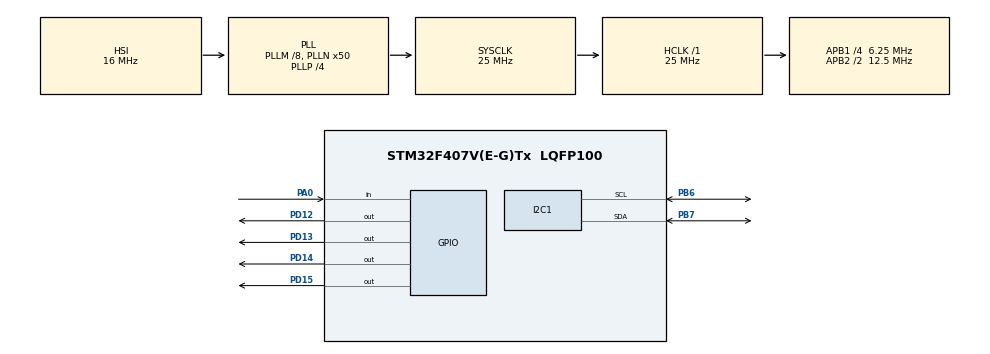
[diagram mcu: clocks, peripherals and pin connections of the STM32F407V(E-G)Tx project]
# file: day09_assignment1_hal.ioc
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Mcu.Family=STM32F4
Mcu.Name=STM32F407V(E-G)Tx
Mcu.Package=LQFP100
NVIC.PriorityGroup=NVIC_PRIORITYGROUP_0
PA0-WKUP.Signal=GPIO_Input
PB6.Mode=I2C
PB6.Signal=I2C1_SCL
PB7.Mode=I2C
PB7.Signal=I2C1_SDA
PD12.Signal=GPIO_Output
PD13.Signal=GPIO_Output
PD14.Signal=GPIO_Output
PD15.Signal=GPIO_Output
ProjectManager.HeapSize=0x200
ProjectManager.StackSize=0x400
ProjectManager.TargetToolchain=STM32CubeIDE
RCC.48MHZClocksFreq_Value=14285714.285714285
RCC.AHBFreq_Value=25000000
RCC.APB1CLKDivider=RCC_HCLK_DIV4
RCC.APB1Freq_Value=6250000
RCC.APB1TimFreq_Value=12500000
RCC.APB2CLKDivider=RCC_HCLK_DIV2
RCC.APB2Freq_Value=12500000
RCC.APB2TimFreq_Value=25000000
RCC.CortexFreq_Value=25000000
RCC.HCLKFreq_Value=25000000
RCC.HSE_VALUE=8000000
RCC.HSI_VALUE=16000000
RCC.LSE_VALUE=32768
RCC.PLLM=8
RCC.PLLN=50
RCC.PLLP=RCC_PLLP_DIV4
RCC.PLLQ=7
RCC.SYSCLKFreq_VALUE=25000000
RCC.SYSCLKSource=RCC_SYSCLKSOURCE_PLLCLK
RCC.VCOOutputFreq_Value=100000000
board=STM32F407G-DISC1

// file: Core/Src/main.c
/* USER CODE BEGIN Header */
/**
  ******************************************************************************
  * @file           : main.c
  * @brief          : Main program body
  ******************************************************************************
  * @attention
  *
  * Copyright (c) 2024 STMicroelectronics.
  * All rights reserved.
  *
  * This software is licensed under terms that can be found in the LICENSE file
  * in the root directory of this software component.
  * If no LICENSE file comes with this software, it is provided AS-IS.
  *
  ******************************************************************************
  */
/* USER CODE END Header */
#include "main.h"

/* USER CODE BEGIN Includes */
#define BV(n)     (1 << (n))

#define LCD_SLAVE_ADDR_W	0x4E
#define LCD_SLAVE_ADDR_R	0x4F
//#define LCD_SLAVE_ADDR_W	0x7E
//#define LCD_SLAVE_ADDR_R	0x7F

#define LCD_CLEAR				0x01
#define LCD_FN_SET_8BIT			0x30
#define LCD_FN_SET_4BIT_1LINE	0x20
#define LCD_FN_SET_4BIT_2LINES	0x28
#define LCD_DISP_CTRL			0x08
#define LCD_DISP_ON				0x0C
#define LCD_ENTRY_MODE			0x06
#define LCD_LINE1				0x80
#define LCD_LINE2				0xC0
#define LCD_DISP_SHIFT_LEFT		0x18
#define LCD_DISP_SHIFT_RIGHT	0x1C

#define LCD_RS	0
#define LCD_RW	1
#define LCD_EN	2
#define LCD_BL	3

#define LCD_CMD		0x80
#define LCD_DATA	1
/* USER CODE END Includes */

I2C_HandleTypeDef hi2c1;

void SystemClock_Config(void);
static void MX_GPIO_Init(void);
static void MX_I2C1_Init(void);
/* USER CODE BEGIN PFP */
void Lcd_Write4BitAndCtrl(uint8_t val);
void Lcd_WriteByte(uint8_t rs, uint8_t val);
void Lcd_Puts(uint8_t line, char str[]);
int Lcd_Init();
/* USER CODE END PFP */

int main(void)
{

  /* MCU Configuration--------------------------------------------------------*/

  /* Reset of all peripherals, Initializes the Flash interface and the Systick. */
  HAL_Init();

  /* Configure the system clock */
  SystemClock_Config();

  /* Initialize all configured peripherals */
  MX_GPIO_Init();
  MX_I2C1_Init();
  /* USER CODE BEGIN 2 */
  Lcd_Init();
  /* USER CODE END 2 */
  Lcd_Puts(LCD_LINE1, "Hello");
  //Lcd_Puts(LCD_LINE2, "I am Prasad!");
  /* Infinite loop */
  while (1)
  {

  }
}

void SystemClock_Config(void)
{
  RCC_OscInitTypeDef RCC_OscInitStruct = {0};
  RCC_ClkInitTypeDef RCC_ClkInitStruct = {0};

  /** Configure the main internal regulator output voltage
  */
  __HAL_RCC_PWR_CLK_ENABLE();
  __HAL_PWR_VOLTAGESCALING_CONFIG(PWR_REGULATOR_VOLTAGE_SCALE1);

  /** Initializes the RCC Oscillators according to the specified parameters
  * in the RCC_OscInitTypeDef structure.
  */
  RCC_OscInitStruct.OscillatorType = RCC_OSCILLATORTYPE_HSI;
  RCC_OscInitStruct.HSIState = RCC_HSI_ON;
  RCC_OscInitStruct.HSICalibrationValue = RCC_HSICALIBRATION_DEFAULT;
  RCC_OscInitStruct.PLL.PLLState = RCC_PLL_ON;
  RCC_OscInitStruct.PLL.PLLSource = RCC_PLLSOURCE_HSI;
  RCC_OscInitStruct.PLL.PLLM = 8;
  RCC_OscInitStruct.PLL.PLLN = 50;
  RCC_OscInitStruct.PLL.PLLP = RCC_PLLP_DIV4;
  RCC_OscInitStruct.PLL.PLLQ = 7;
  if (HAL_RCC_OscConfig(&RCC_OscInitStruct) != HAL_OK)
  {
    Error_Handler();
  }

  /** Initializes the CPU, AHB and APB buses clocks
  */
  RCC_ClkInitStruct.ClockType = RCC_CLOCKTYPE_HCLK|RCC_CLOCKTYPE_SYSCLK
                              |RCC_CLOCKTYPE_PCLK1|RCC_CLOCKTYPE_PCLK2;
  RCC_ClkInitStruct.SYSCLKSource = RCC_SYSCLKSOURCE_PLLCLK;
  RCC_ClkInitStruct.AHBCLKDivider = RCC_SYSCLK_DIV1;
  RCC_ClkInitStruct.APB1CLKDivider = RCC_HCLK_DIV4;
  RCC_ClkInitStruct.APB2CLKDivider = RCC_HCLK_DIV2;

  if (HAL_RCC_ClockConfig(&RCC_ClkInitStruct, FLASH_LATENCY_0) != HAL_OK)
  {
    Error_Handler();
  }
}

static void MX_I2C1_Init(void)
{

  hi2c1.Instance = I2C1;
  hi2c1.Init.ClockSpeed = 100000;
  hi2c1.Init.DutyCycle = I2C_DUTYCYCLE_2;
  hi2c1.Init.OwnAddress1 = 0;
  hi2c1.Init.AddressingMode = I2C_ADDRESSINGMODE_7BIT;
  hi2c1.Init.DualAddressMode = I2C_DUALADDRESS_DISABLE;
  hi2c1.Init.OwnAddress2 = 0;
  hi2c1.Init.GeneralCallMode = I2C_GENERALCALL_DISABLE;
  hi2c1.Init.NoStretchMode = I2C_NOSTRETCH_DISABLE;
  if (HAL_I2C_Init(&hi2c1) != HAL_OK)
  {
    Error_Handler();
  }

}

static void MX_GPIO_Init(void)
{
  GPIO_InitTypeDef GPIO_InitStruct = {0};

  /* GPIO Ports Clock Enable */
  __HAL_RCC_GPIOA_CLK_ENABLE();
  __HAL_RCC_GPIOD_CLK_ENABLE();
  __HAL_RCC_GPIOB_CLK_ENABLE();

  /*Configure GPIO pin Output Level */
  HAL_GPIO_WritePin(GPIOD, GPIO_PIN_12|GPIO_PIN_13|GPIO_PIN_14|GPIO_PIN_15, GPIO_PIN_RESET);

  /*Configure GPIO pin : PA0 */
  GPIO_InitStruct.Pin = GPIO_PIN_0;
  GPIO_InitStruct.Mode = GPIO_MODE_INPUT;
  GPIO_InitStruct.Pull = GPIO_NOPULL;
  HAL_GPIO_Init(GPIOA, &GPIO_InitStruct);

  /*Configure GPIO pins : PD12 PD13 PD14 PD15 */
  GPIO_InitStruct.Pin = GPIO_PIN_12|GPIO_PIN_13|GPIO_PIN_14|GPIO_PIN_15;
  GPIO_InitStruct.Mode = GPIO_MODE_OUTPUT_PP;
  GPIO_InitStruct.Pull = GPIO_NOPULL;
  GPIO_InitStruct.Speed = GPIO_SPEED_FREQ_LOW;
  HAL_GPIO_Init(GPIOD, &GPIO_InitStruct);

}

/* USER CODE BEGIN 4 */
void Lcd_Write4BitAndCtrl(uint8_t val) {
	//I2C_Start();
	//I2C_SendSlaveAddr(LCD_SLAVE_ADDR_W);
	//I2C_SendData(val);
	//I2C_Stop();
	HAL_I2C_Master_Transmit(&hi2c1, LCD_SLAVE_ADDR_W, &val, sizeof(val), 50);
}
void Lcd_WriteByte(uint8_t rs, uint8_t val) {
	uint8_t high = val & 0xF0, low = (val << 4) & 0xF0;
	uint8_t bvrs = (rs == LCD_CMD) ? 0 : BV(LCD_RS);
	Lcd_Write4BitAndCtrl(high | bvrs | BV(LCD_EN) | BV(LCD_BL));
	HAL_Delay(1);//DelayMs(1);
	Lcd_Write4BitAndCtrl(high | bvrs | BV(LCD_BL));
	Lcd_Write4BitAndCtrl(low | bvrs | BV(LCD_EN) | BV(LCD_BL));
	HAL_Delay(1);//DelayMs(1);
	Lcd_Write4BitAndCtrl(low | bvrs | BV(LCD_BL));
}
int Lcd_Init()
{
	// wait for 15ms
	HAL_Delay(20);//DelayMs(20);
	// check if lcd is ready
	if(HAL_I2C_IsDeviceReady(&hi2c1, LCD_SLAVE_ADDR_W, 5, 50) != HAL_OK)
		return 1;

	// attention sequence
	Lcd_Write4BitAndCtrl(LCD_FN_SET_8BIT | BV(LCD_EN));
	__NOP();
	Lcd_Write4BitAndCtrl(LCD_FN_SET_8BIT);
	HAL_Delay(5);//DelayMs(5);

	Lcd_Write4BitAndCtrl(LCD_FN_SET_8BIT | BV(LCD_EN));
	__NOP();
	Lcd_Write4BitAndCtrl(LCD_FN_SET_8BIT);
	HAL_Delay(1);//DelayMs(1);

	Lcd_Write4BitAndCtrl(LCD_FN_SET_8BIT | BV(LCD_EN));
	__NOP();
	Lcd_Write4BitAndCtrl(LCD_FN_SET_8BIT);
	HAL_Delay(3);//DelayMs(3);

	Lcd_Write4BitAndCtrl(LCD_FN_SET_4BIT_1LINE | BV(LCD_EN));
	__NOP();
	Lcd_Write4BitAndCtrl(LCD_FN_SET_4BIT_1LINE);
	HAL_Delay(3);//DelayMs(3);

	// lcd initialization
	//Lcd_WriteByte(LCD_CMD, LCD_FN_SET_4BIT_2LINES);
	Lcd_WriteByte(LCD_CMD, LCD_FN_SET_4BIT_1LINE);
	HAL_Delay(1);//DelayMs(1);
	Lcd_WriteByte(LCD_CMD, LCD_DISP_CTRL); // no shift, decrementing cursor move
	HAL_Delay(1);//DelayMs(1);
	Lcd_WriteByte(LCD_CMD, LCD_CLEAR); // clear lcd
	HAL_Delay(1);//DelayMs(1);
	Lcd_WriteByte(LCD_CMD, LCD_ENTRY_MODE); // incrementing cursor move, no shift
	HAL_Delay(1);//DelayMs(1);
	Lcd_WriteByte(LCD_CMD, LCD_DISP_ON); // display on
	HAL_Delay(1);//DelayMs(1);

	return 0;
}
void Lcd_Puts(uint8_t line, char str[]) {
	int i;
	Lcd_WriteByte(LCD_CMD, line); // line address
	HAL_Delay(1);//DelayMs(1);
	for(i=0; str[i]!='\0'; i++)
		Lcd_WriteByte(LCD_DATA, str[i]);
}
/* USER CODE END 4 */

void Error_Handler(void)
{
  __disable_irq();
  while (1)
  {
  }
}
